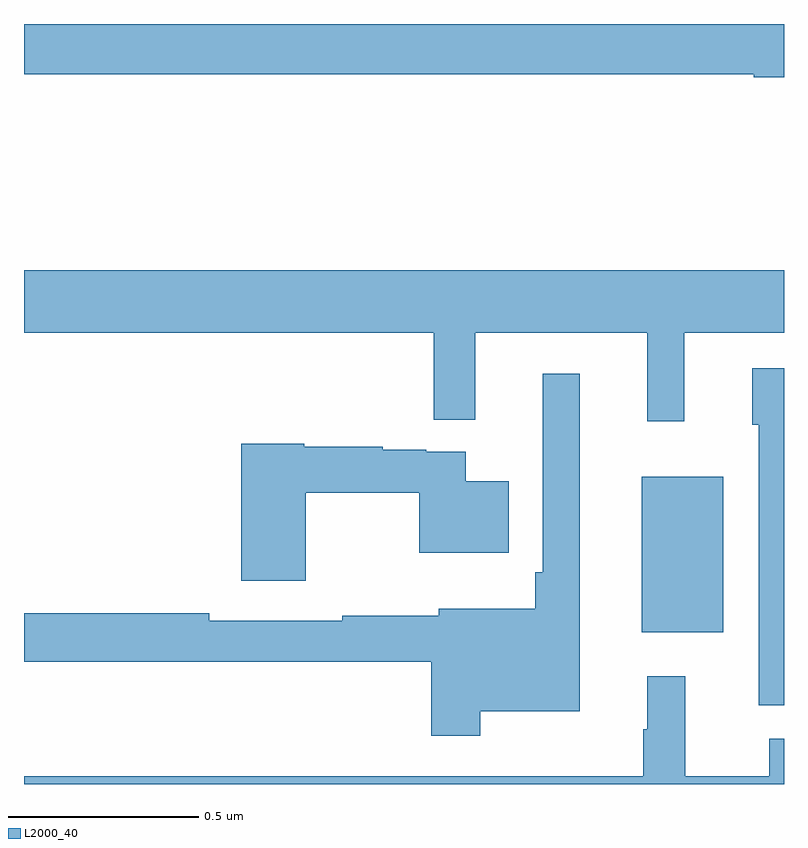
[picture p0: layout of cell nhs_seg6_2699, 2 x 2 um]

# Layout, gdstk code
import gdstk
lib = gdstk.Library(unit=1e-6, precision=1e-09)
def R(c, l, rs):  # rectangles x0, y0, x1, y1
    for r in rs: c.add(gdstk.rectangle(r[:2], r[2:], *l))
def P(c, l, *ps):  # polygons
    for p in ps: c.add(gdstk.Polygon(p, *l))
L2000_40 = (2000, 40)

nhs_seg6_2699 = lib.new_cell('nhs_seg6_2699')
R(nhs_seg6_2699, L2000_40, [(148.625,927.899,148.84,928.309)])
P(nhs_seg6_2699, L2000_40, [(149,929.5),(147,929.5),(147,929.368),(148.92,929.368),(148.92,929.36),(149,929.36)],
  [(148.738,928.688),(149,928.688),(149,928.852),(147,928.852),(147,928.688),(148.078,928.688),(148.078,928.459),(148.187,928.459),(148.187,928.688),(148.64,928.688),(148.64,928.455),(148.738,928.455)],
  [(149,928.594),(148.916,928.594),(148.916,928.446),(148.934,928.446),(148.934,927.707),(149,927.707)],
  [(148.201,927.692),(148.462,927.692),(148.462,928.579),(148.365,928.579),(148.365,928.057),(148.345,928.057),(148.345,927.961),(148.091,927.961),(148.091,927.943),(147.838,927.943),(147.838,927.93),(147.488,927.93),(147.488,927.95),(147,927.95),(147,927.822),(148.072,927.822),(148.072,927.627),(148.201,927.627)],
  [(147.742,928.266),(148.04,928.266),(148.04,928.109),(148.276,928.109),(148.276,928.297),(148.162,928.297),(148.162,928.374),(148.058,928.374),(148.058,928.38),(147.944,928.38),(147.944,928.387),(147.738,928.387),(147.738,928.395),(147.572,928.395),(147.572,928.035),(147.742,928.035)],
  [(149,927.619),(148.961,927.619),(148.961,927.52),(148.74,927.52),(148.74,927.784),(148.64,927.784),(148.64,927.644),(148.629,927.644),(148.629,927.52),(147,927.52),(147,927.5),(149,927.5)])

lib.write_gds('nhs_seg6_2699.gds')
